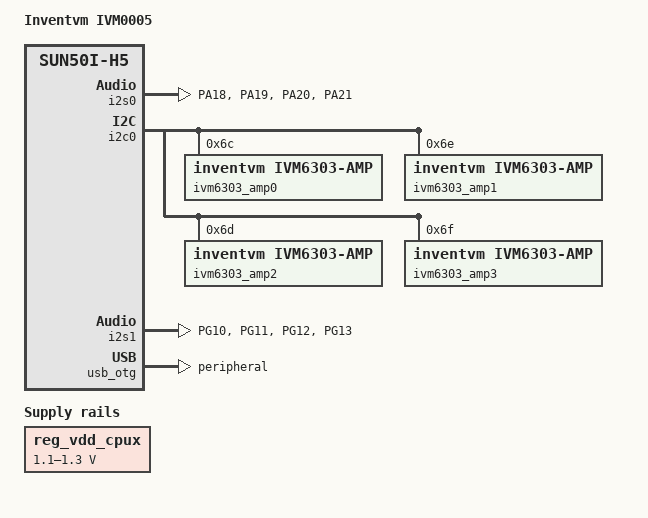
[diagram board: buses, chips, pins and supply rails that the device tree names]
// SPDX-License-Identifier: (GPL-2.0+ OR MIT)
// Copyright (C) 2017 Icenowy Zheng <icenowy@aosc.io>
// Copyright (C) 2022 Inventvm

/dts-v1/;
#include "sun50i-h5-nanopi-neo2.dtsi"
#include "sun50i-h5-cpu-opp.dtsi"

#include <dt-bindings/gpio/gpio.h>

/ {
	model = "Inventvm IVM0005";
	compatible = "inventvm,ivn0005", "friendlyarm,nanopi-neo2", "allwinner,sun50i-h5";

	reg_vdd_cpux: vdd-cpux {
		compatible = "regulator-gpio";
		regulator-name = "vdd-cpux";
		regulator-type = "voltage";
		regulator-boot-on;
		regulator-always-on;
		regulator-min-microvolt = <1100000>;
		regulator-max-microvolt = <1300000>;
		regulator-ramp-delay = <50>; /* 4ms */
		/* Uncommenting this one makes the board die on boot */
		/* enable-gpios =  <&r_pio 0 8 GPIO_ACTIVE_HIGH>;*/ /* PL8 */
		gpios = <&r_pio 0 6 GPIO_ACTIVE_HIGH>; /* PL6 */
		gpios-states = <0x1>;
		states = <1100000 0x0
			  1300000 0x1>;
	};
};

&cpu0 {
	cpu-supply = <&reg_vdd_cpux>;
};

&i2s0 {
	status = "okay";
	pinctrl-names = "default";
	pinctrl-0 = <&i2s0_pins>;
};

&i2c0 {
	status = "okay";
	ivm6303_amp0: ivm6303-amp@6c {
		compatible = "inventvm,ivm6303-amp";
		reg = <0x6c>;
		status = "okay";
        };

	ivm6303_amp1: ivm6303-amp@6e {
		compatible = "inventvm,ivm6303-amp";
		reg = <0x6e>;
		status = "okay";
        };

	ivm6303_amp2: ivm6303-amp@6d {
		compatible = "inventvm,ivm6303-amp";
		reg = <0x6d>;
		status = "okay";
        };

	ivm6303_amp3: ivm6303-amp@6f {
		compatible = "inventvm,ivm6303-amp";
		reg = <0x6f>;
		status = "okay";
        };

};

&i2c0_pins {
	bias-pull-up;
};

&i2s1 {
	status = "okay";
	pinctrl-names = "default";
	pinctrl-0 = <&i2s1_pins>;
};

&pio {
	i2s0_pins: i2s0_pinmux {
		pins = "PA18", "PA19", "PA20", "PA21";
		function = "i2s0";
	};

	i2s1_pins: i2s1_pinmux {
		pins = "PG10", "PG11", "PG12", "PG13";
		function = "i2s1";
	};
};

&usb_otg {
       dr_mode = "peripheral";
};

&mmc1 {
	status = "disabled";
};

&mmc2 {
	status = "disabled";
};
